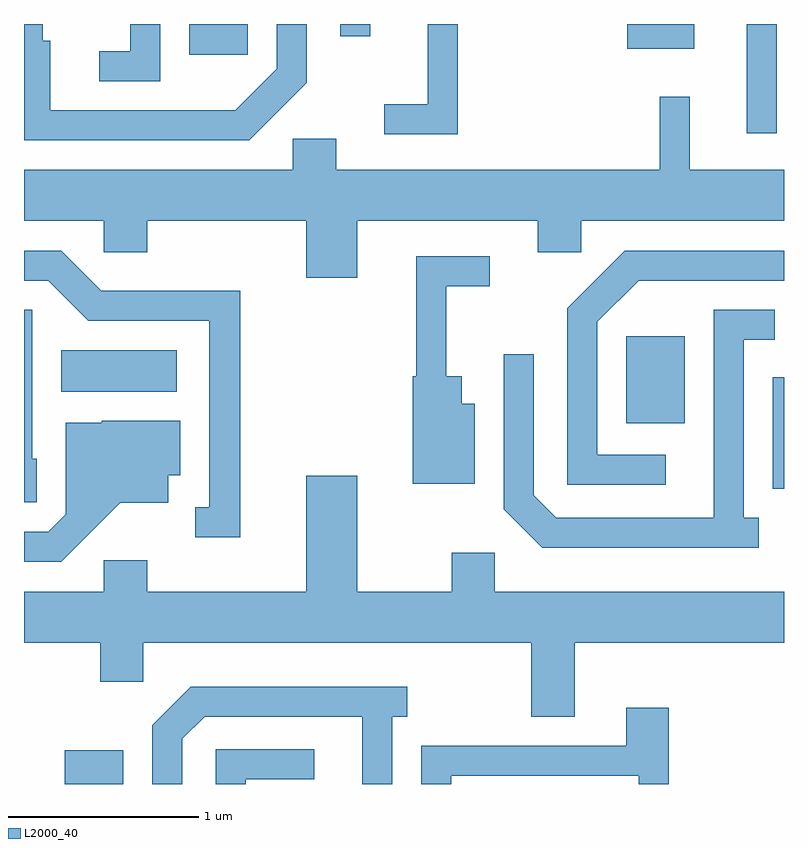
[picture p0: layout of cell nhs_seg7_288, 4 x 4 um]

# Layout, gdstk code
import gdstk
lib = gdstk.Library(unit=1e-6, precision=1e-09)
def R(c, l, rs):  # rectangles x0, y0, x1, y1
    for r in rs: c.add(gdstk.rectangle(r[:2], r[2:], *l))
def P(c, l, *ps):  # polygons
    for p in ps: c.add(gdstk.Polygon(p, *l))
L2000_40 = (2000, 40)

nhs_seg7_288 = lib.new_cell('nhs_seg7_288')
R(nhs_seg7_288, L2000_40, [(193.826,1700.252,194.134,1700.429), (197.551,1701.806,197.611,1702.393), (196.781,1702.151,197.089,1702.609), (193.806,1702.316,194.414,1702.534), (197.416,1703.678,197.574,1704.252), (194.481,1704.091,194.789,1704.252), (196.786,1704.121,197.139,1704.252), (195.276,1704.188,195.434,1704.252)])
P(nhs_seg7_288, L2000_40, [(194.329,1704.252),(194.171,1704.252),(194.171,1704.109),(194.008,1704.109),(194.008,1703.951),(194.329,1703.951)],
  [(195.894,1704.252),(195.736,1704.252),(195.736,1703.829),(195.508,1703.829),(195.508,1703.671),(195.894,1703.671)],
  [(195.099,1703.944),(195.099,1704.252),(194.941,1704.252),(194.941,1704.017),(194.724,1703.799),(193.749,1703.799),(193.749,1704.164),(193.709,1704.164),(193.709,1704.252),(193.611,1704.252),(193.611,1703.641),(194.797,1703.641)],
  [(195.364,1703.216),(196.316,1703.216),(196.316,1703.051),(196.544,1703.051),(196.544,1703.216),(197.611,1703.216),(197.611,1703.484),(197.114,1703.484),(197.114,1703.868),(196.956,1703.868),(196.956,1703.484),(195.254,1703.484),(195.254,1703.649),(195.026,1703.649),(195.026,1703.484),(193.611,1703.484),(193.611,1703.216),(194.031,1703.216),(194.031,1703.051),(194.259,1703.051),(194.259,1703.216),(195.096,1703.216),(195.096,1702.916),(195.364,1702.916)],
  [(196.988,1701.984),(196.629,1701.984),(196.629,1702.684),(196.847,1702.901),(197.611,1702.901),(197.611,1703.059),(196.774,1703.059),(196.471,1702.757),(196.471,1701.826),(196.988,1701.826)],
  [(194.749,1702.849),(194.017,1702.849),(193.807,1703.059),(193.611,1703.059),(193.611,1702.901),(193.739,1702.901),(193.949,1702.691),(194.586,1702.691),(194.586,1701.709),(194.513,1701.709),(194.513,1701.551),(194.749,1701.551)],
  [(195.984,1702.254),(195.914,1702.254),(195.914,1702.399),(195.834,1702.399),(195.834,1702.871),(196.063,1702.871),(196.063,1703.029),(195.676,1703.029),(195.676,1702.399),(195.656,1702.399),(195.656,1701.831),(195.984,1701.831)],
  [(197.478,1701.654),(197.399,1701.654),(197.399,1702.591),(197.563,1702.591),(197.563,1702.749),(197.241,1702.749),(197.241,1701.654),(196.412,1701.654),(196.294,1701.772),(196.294,1702.513),(196.136,1702.513),(196.136,1701.699),(196.339,1701.496),(197.478,1701.496)],
  [(193.679,1701.964),(193.654,1701.964),(193.654,1702.749),(193.611,1702.749),(193.611,1701.736),(193.679,1701.736)],
  [(194.117,1701.731),(194.369,1701.731),(194.369,1701.876),(194.434,1701.876),(194.434,1702.164),(194.02,1702.164),(194.02,1702.154),(193.831,1702.154),(193.831,1701.672),(193.739,1701.579),(193.611,1701.579),(193.611,1701.421),(193.807,1701.421)],
  [(196.509,1700.996),(197.611,1700.996),(197.611,1701.264),(196.089,1701.264),(196.089,1701.469),(195.861,1701.469),(195.861,1701.264),(195.364,1701.264),(195.364,1701.874),(195.096,1701.874),(195.096,1701.264),(194.259,1701.264),(194.259,1701.429),(194.031,1701.429),(194.031,1701.264),(193.611,1701.264),(193.611,1700.996),(194.011,1700.996),(194.011,1700.791),(194.239,1700.791),(194.239,1700.996),(196.281,1700.996),(196.281,1700.606),(196.509,1700.606)],
  [(194.444,1700.489),(194.562,1700.606),(195.391,1700.606),(195.391,1700.252),(195.549,1700.252),(195.549,1700.606),(195.628,1700.606),(195.628,1700.764),(194.489,1700.764),(194.286,1700.562),(194.286,1700.252),(194.444,1700.252)],
  [(195.859,1700.296),(196.846,1700.296),(196.846,1700.252),(197.004,1700.252),(197.004,1700.654),(196.781,1700.654),(196.781,1700.454),(195.701,1700.454),(195.701,1700.252),(195.859,1700.252)],
  [(194.779,1700.276),(195.138,1700.276),(195.138,1700.434),(194.621,1700.434),(194.621,1700.252),(194.779,1700.252)])

lib.write_gds('nhs_seg7_288.gds')
